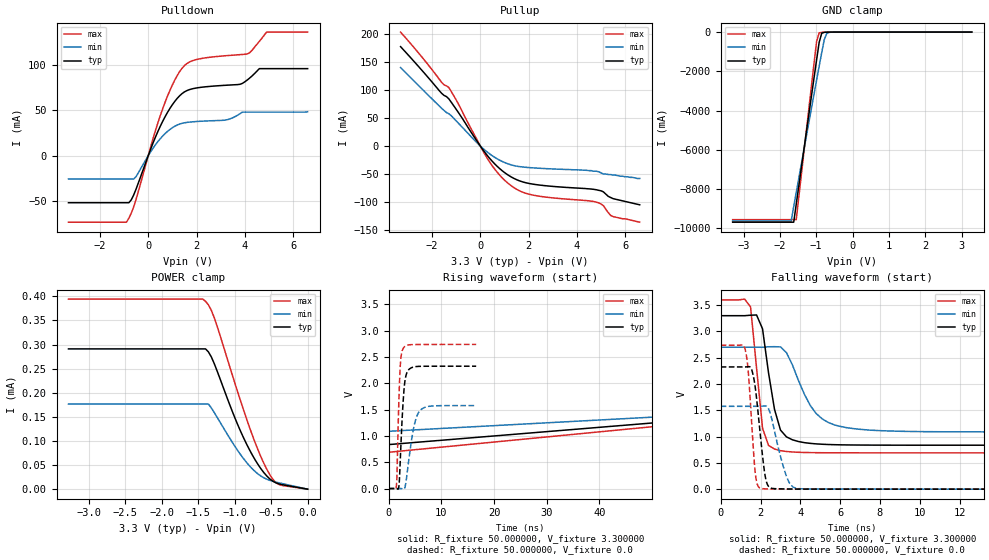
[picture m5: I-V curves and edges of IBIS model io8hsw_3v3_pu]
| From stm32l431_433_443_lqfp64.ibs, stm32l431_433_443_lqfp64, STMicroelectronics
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|   Model io8hsw_3v3_pu
[Model]  io8hsw_3v3_pu
Model_type I/O
Polarity   Non-Inverting
Enable   Active-Low
Vinl =   0.990000V
Vinh =   2.310000V
Vmeas =  1.650000V
Cref =   100.000000nF
Rref =   1.000000k
Vref =   3.300000V
C_comp   2.968600pF   2.938100pF   3.196200pF
[Temperature Range]   25.000000   0.125000k   -40.000000
[Pullup Reference]   3.300000V   2.700000V   3.600000V
[Pulldown Reference]   0.0V   0.0V   0.0V
[POWER Clamp Reference]   3.300000V   2.700000V   3.600000V
[GND Clamp Reference]   0.0V   0.0V   0.0V
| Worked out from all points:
|   slope of the pulldown table from 0 to 0.495 V, typ, clamps not added: 15.4 ohm
|   slope of the pullup table from 0 to 0.495 V, typ, clamps not added: 18.1 ohm
|   GND clamp passes 1 mA (typ) near -0.58 V on its own axis
|   rising waveform, R_fixture 50.000000, V_fixture 3.300000: 20-80 % time 180ns typ, 180ns min, 180ns max; typ from 0.836 V to 3.3 V
|   rising waveform, R_fixture 50.000000, V_fixture 0.0: 20-80 % time 725ps typ, 1.46ns min, 488ps max; typ from 0.001 V to 2.33 V
|   falling waveform, R_fixture 50.000000, V_fixture 3.300000: 20-80 % time 659ps typ, 1.29ns min, 455ps max; typ from 3.3 V to 0.836 V
|   falling waveform, R_fixture 50.000000, V_fixture 0.0: 20-80 % time 392ps typ, 627ps min, 287ps max; typ from 2.33 V to 0.001 V
[Pulldown]
|Voltage   I(typ)   I(min)   I(max)
-3.3V     -51.62mA   -25.53mA   -73.04mA
-900mV    -51.62mA   -25.53mA   -73.04mA
-500mV    -36.51mA   -22.79mA   -47.71mA
200mV     14.02mA    8.316mA    18.9mA
700mV     42.98mA    24.4mA     58.9mA
1.2V      63.06mA    33.8mA     88.14mA
1.6V      71.63mA    36.67mA    101.4mA
3.2V      77.51mA    39.29mA    110mA
4.1V      83.28mA    47.99mA    112mA
4.6V      95.81mA    47.99mA    125.7mA
4.9V      95.81mA    47.99mA    136mA
6.6V      95.81mA    48.43mA    136mA
[Pullup]
|Voltage   I(typ)   I(min)   I(max)
-3.3V     177.3mA    140mA      203.2mA
-1.6V     93.97mA    67.34mA    113.5mA
-1.3V     83.99mA    57.44mA    104.3mA
300mV     -17.49mA   -11.19mA   -22.71mA
700mV     -36.32mA   -22.9mA    -46.84mA
1.2V      -53.2mA    -32.62mA   -68.33mA
1.7V      -63.36mA   -37.26mA   -81.47mA
2.2V      -68.23mA   -39.11mA   -87.81mA
4.8V      -78.1mA    -45mA      -100.2mA
5.1V      -82mA      -50mA      -106.7mA
5.5V      -94mA      -52mA      -126mA
6.6V      -105mA     -58mA      -136mA
[GND_clamp]
|Voltage   I(typ)   I(min)   I(max)
-3.3V     -9.687A    -9.633A    -9.557A
-1.69V    -9.687A    -9.633A    -9.557A
-1.62V    -9.687A    -8.894A    -9.557A
-1.55V    -8.764A    -8.167A    -9.557A
-1.13V    -3.236A    -3.867A    -2.713A
-990mV    -1.416A    -2.448A    -480.1mA
-920mV    -530mA     -1.746A    -39.96mA
-850mV    -62.36mA   -1.055A    -14.04mA
-780mV    -12.04mA   -390.4mA   -9.013mA
-710mV    -4.897mA   -69.08mA   -5.32mA
-640mV    -2.305mA   -14.59mA   -2.498mA
3.28V     0A         0A         0A
[POWER_clamp]
|Voltage   I(typ)   I(min)   I(max)
-3.28V    291uA      176.5uA    394.3uA
-1.44V    291uA      176.5uA    394.3uA
-1.4V     291uA      176.5uA    389.8uA
-1.36V    284.6uA    176.5uA    382.1uA
-1.28V    260.2uA    158.7uA    355.4uA
-1V       148.8uA    89.45uA    220.9uA
-840mV    94.39uA    55.87uA    146.9uA
-680mV    51.08uA    31.49uA    81.3uA
-560mV    27.28uA    20.64uA    41.26uA
-480mV    16.8uA     16.48uA    21.17uA
-400mV    11.23uA    13.43uA    10.02uA
0V        0A         5.022nA    0A
[Ramp]
| variable   typ   min   max
dV/dt_r  1.39438/0.72441n   0.94482/1.45633n   1.64276/0.48777n
dV/dt_f  1.47812/0.60362n   0.96630/1.27330n   1.74547/0.39887n
R_load = 50.000000
[Rising Waveform]
R_fixture= 50.000000
V_fixture= 3.300000
V_fixture_min= 2.700000
V_fixture_max= 3.600000
|time   V(typ)   V(min)   V(max)
0s        836mV      1.089V     690.6mV
300.3ns   3.3V       2.7V       3.6V
600.6ns   3.3V       2.7V       3.6V
29.73us   3.3V       2.7V       3.6V
[Rising Waveform]
R_fixture= 50.000000
V_fixture= 0.0
V_fixture_min= 0.0
V_fixture_max= 0.0
|time   V(typ)   V(min)   V(max)
0s        932.4uV    1.4mV      660.9uV
1.468ns   1.222mV    1.4mV      41.33mV
1.568ns   -169.6uV   1.4mV      206.7mV
1.935ns   31.61mV    1.427mV    1.629V
2.169ns   433.1mV    1.513mV    2.249V
2.769ns   1.671V     -8.152mV   2.663V
3.504ns   2.209V     283.3mV    2.722V
4.705ns   2.31V      1.127V     2.736V
5.873ns   2.322V     1.472V     2.738V
16.62ns   2.325V     1.576V     2.739V
[Falling Waveform]
R_fixture= 50.000000
V_fixture= 3.300000
V_fixture_min= 2.700000
V_fixture_max= 3.600000
|time   V(typ)   V(min)   V(max)
0s        3.3V       2.7V       3.6V
1.502ns   3.309V     2.7V       3.465V
1.802ns   3.314V     2.7V       2.305V
2.102ns   3.05V      2.7V       1.159V
2.402ns   2.214V     2.709V     833.9mV
3.003ns   1.125V     2.706V     732.7mV
3.604ns   939.7mV    2.363V     707.9mV
5.105ns   854.8mV    1.337V     693.6mV
9.009ns   837.2mV    1.102V     691.3mV
149.5ns   836mV      1.089V     690.6mV
[Falling Waveform]
R_fixture= 50.000000
V_fixture= 0.0
V_fixture_min= 0.0
V_fixture_max= 0.0
|time   V(typ)   V(min)   V(max)
0s        2.325V     1.576V     2.739V
1.235ns   2.325V     1.576V     2.65V
1.401ns   2.331V     1.576V     2.16V
1.735ns   1.939V     1.576V     311.6mV
1.969ns   1.114V     1.577V     22.74mV
2.202ns   324.8mV    1.584V     7.337mV
2.369ns   73.17mV    1.552V     4.676mV
3.27ns    4.474mV    280.8mV    2.241mV
3.737ns   2.983mV    23.33mV    1.836mV
16.62ns   932.4uV    1.4mV      660.9uV
